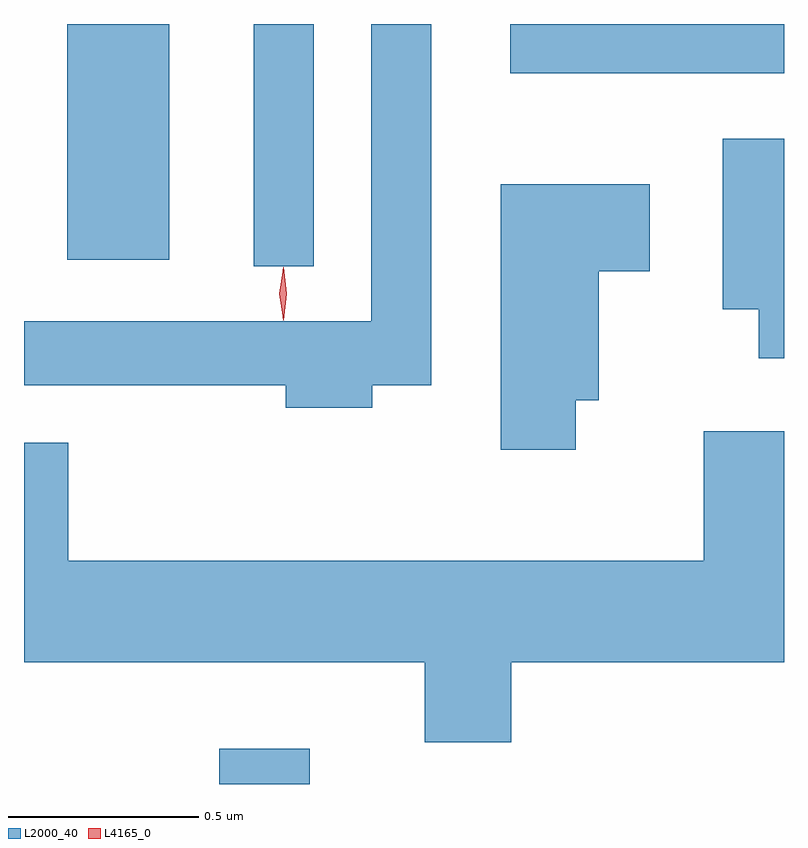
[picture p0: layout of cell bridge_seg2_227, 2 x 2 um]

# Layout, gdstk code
import gdstk
lib = gdstk.Library(unit=1e-6, precision=1e-09)
def R(c, l, rs):  # rectangles x0, y0, x1, y1
    for r in rs: c.add(gdstk.rectangle(r[:2], r[2:], *l))
def P(c, l, *ps):  # polygons
    for p in ps: c.add(gdstk.Polygon(p, *l))
L2000_40 = (2000, 40)
L4165_0 = (4165, 0)

bridge_seg2_227 = lib.new_cell('bridge_seg2_227')
R(bridge_seg2_227, L2000_40, [(543.856,1103.496,544.094,1103.589), (543.946,1104.858,544.104,1105.496), (543.456,1104.876,543.724,1105.496), (544.621,1105.366,545.342,1105.496)])
P(bridge_seg2_227, L2000_40, [(544.259,1104.546),(544.414,1104.546),(544.414,1105.496),(544.256,1105.496),(544.256,1104.714),(543.342,1104.714),(543.342,1104.546),(544.031,1104.546),(544.031,1104.486),(544.259,1104.486)],
  [(545.342,1105.194),(545.181,1105.194),(545.181,1104.746),(545.276,1104.746),(545.276,1104.616),(545.342,1104.616)],
  [(544.794,1104.506),(544.854,1104.506),(544.854,1104.846),(544.989,1104.846),(544.989,1105.074),(544.596,1105.074),(544.596,1104.376),(544.794,1104.376)],
  [(544.624,1103.816),(545.342,1103.816),(545.342,1104.424),(545.131,1104.424),(545.131,1104.084),(543.459,1104.084),(543.459,1104.394),(543.342,1104.394),(543.342,1103.816),(544.396,1103.816),(544.396,1103.606),(544.624,1103.606)])
P(bridge_seg2_227, L4165_0, [(544.024,1104.717),(544.024,1104.717),(544.015,1104.787),(544.024,1104.856),(544.025,1104.856),(544.025,1104.856),(544.034,1104.786),(544.025,1104.717)],
  [(544.024,1104.719),(544.024,1104.72),(544.014,1104.786),(544.024,1104.852),(544.024,1104.853),(544.025,1104.852),(544.034,1104.786),(544.025,1104.72)])

lib.write_gds('bridge_seg2_227.gds')
